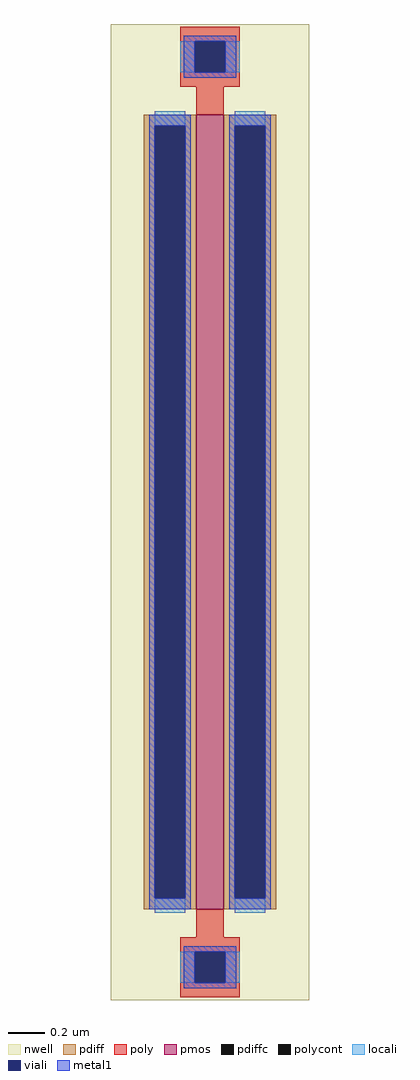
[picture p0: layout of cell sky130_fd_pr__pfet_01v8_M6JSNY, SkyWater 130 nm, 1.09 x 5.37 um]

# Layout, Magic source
magic
tech sky130A
magscale 1 2
<< nwell >>
rect -109 -537 109 537
<< pmos >>
rect -15 -437 15 437
<< pdiff >>
rect -73 425 -15 437
rect -73 -425 -61 425
rect -27 -425 -15 425
rect -73 -437 -15 -425
rect 15 425 73 437
rect 15 -425 27 425
rect 61 -425 73 425
rect 15 -437 73 -425
<< pdiffc >>
rect -61 -425 -27 425
rect 27 -425 61 425
<< poly >>
rect -33 518 33 534
rect -33 484 -17 518
rect 17 484 33 518
rect -33 468 33 484
rect -15 437 15 468
rect -15 -468 15 -437
rect -33 -484 33 -468
rect -33 -518 -17 -484
rect 17 -518 33 -484
rect -33 -534 33 -518
<< polycont >>
rect -17 484 17 518
rect -17 -518 17 -484
<< locali >>
rect -33 484 -17 518
rect 17 484 33 518
rect -61 425 -27 441
rect -61 -441 -27 -425
rect 27 425 61 441
rect 27 -441 61 -425
rect -33 -518 -17 -484
rect 17 -518 33 -484
<< viali >>
rect -17 484 17 518
rect -61 -425 -27 425
rect 27 -425 61 425
rect -17 -518 17 -484
<< metal1 >>
rect -29 518 29 524
rect -29 484 -17 518
rect 17 484 29 518
rect -29 478 29 484
rect -67 425 -21 437
rect -67 -425 -61 425
rect -27 -425 -21 425
rect -67 -437 -21 -425
rect 21 425 67 437
rect 21 -425 27 425
rect 61 -425 67 425
rect 21 -437 67 -425
rect -29 -484 29 -478
rect -29 -518 -17 -484
rect 17 -518 29 -484
rect -29 -524 29 -518
<< properties >>
string gencell sky130_fd_pr__pfet_01v8
string library sky130
string parameters w 4.37 l 0.15 m 1 nf 1 diffcov 100 polycov 100 guard 0 glc 1 grc 1 gtc 1 gbc 1 tbcov 100 rlcov 100 topc 1 botc 1 poverlap 0 doverlap 1 lmin 0.15 wmin 0.42 compatible {sky130_fd_pr__pfet_01v8  sky130_fd_pr__pfet_01v8_lvt sky130_fd_pr__pfet_01v8_hvt  sky130_fd_pr__pfet_g5v0d10v5} full_metal 1 viasrc 100 viadrn 100 viagate 100 viagb 0 viagr 0 viagl 0 viagt 0
<< end >>
